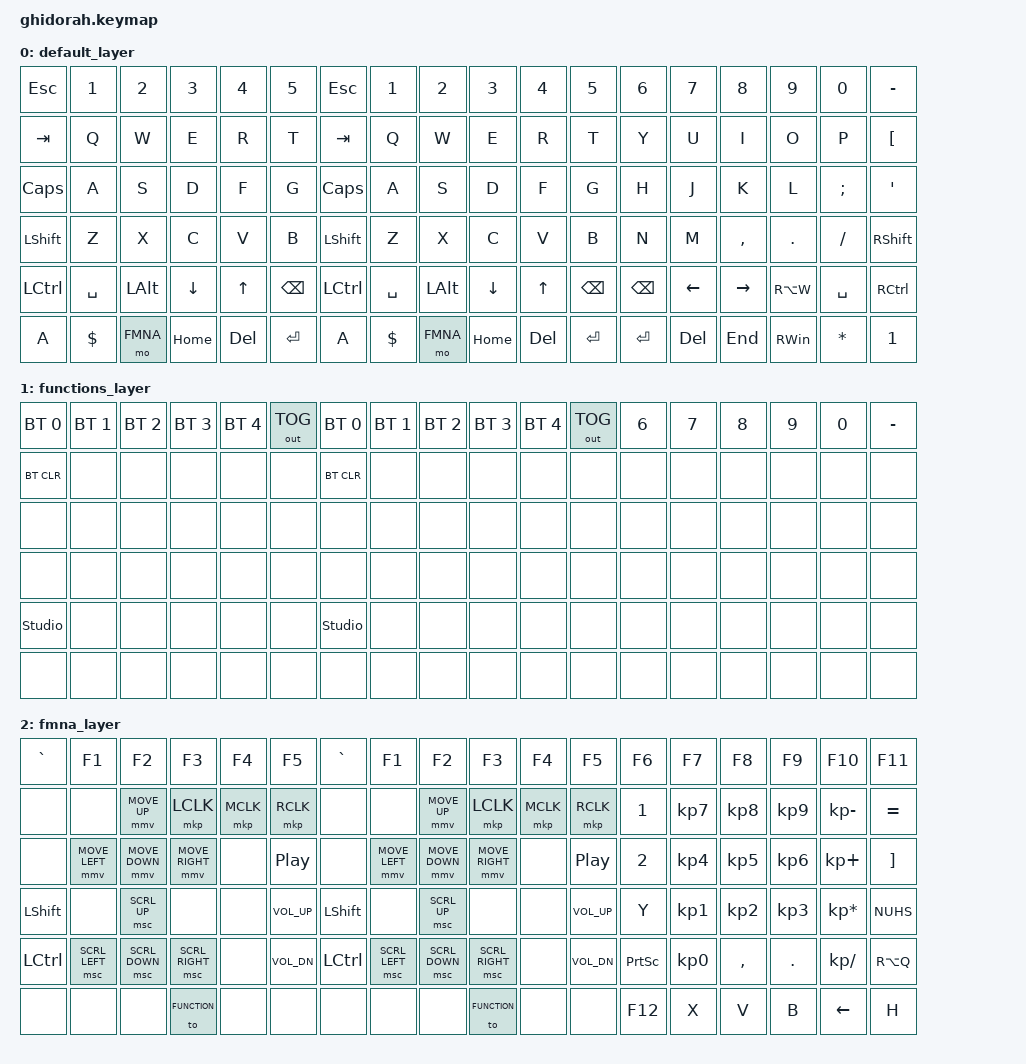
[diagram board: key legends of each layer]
/*
 * Copyright (c) 2020 The ZMK Contributors
 *
 * SPDX-License-Identifier: MIT
 */

#define ZMK_POINTING_DEFAULT_MOVE_VAL 1500  // default: 600
#define ZMK_POINTING_DEFAULT_SCRL_VAL 20    // default: 10

#include <dt-bindings/zmk/pointing.h>
#include <behaviors.dtsi>
#include <dt-bindings/zmk/keys.h>
#include <dt-bindings/zmk/bt.h>
#include <dt-bindings/zmk/outputs.h>


#define DEFAULT 0
#define FUNCTION 1
#define FMNA 2

/ {
	keymap {
		compatible = "zmk,keymap";

		default_layer {
			bindings = <			
			&kp ESC    &kp N1     &kp N2    &kp N3    &kp N4  &kp N5             &kp ESC    &kp N1     &kp N2    &kp N3    &kp N4  &kp N5             &kp N6     &kp N7    &kp N8     &kp N9     &kp N0     &kp MINUS      
			&kp TAB    &kp Q      &kp W     &kp E     &kp R   &kp T              &kp TAB    &kp Q      &kp W     &kp E     &kp R   &kp T              &kp Y      &kp U     &kp I      &kp O      &kp P      &kp LBKT        
			&kp CAPS   &kp A      &kp S     &kp D     &kp F   &kp G              &kp CAPS   &kp A      &kp S     &kp D     &kp F   &kp G              &kp H      &kp J     &kp K      &kp L      &kp SEMI   &kp APOS        
            &kp LSHFT  &kp Z      &kp X     &kp C     &kp V   &kp B              &kp LSHFT  &kp Z      &kp X     &kp C     &kp V   &kp B              &kp N      &kp M     &kp COMMA  &kp DOT    &kp SLASH  &kp RSHFT   
			&kp LCTRL  &kp SPACE  &kp LALT  &kp DOWN  &kp UP  &kp BSPC           &kp LCTRL  &kp SPACE  &kp LALT  &kp DOWN  &kp UP  &kp BSPC           &kp BSPC   &kp LEFT  &kp RIGHT  &kp RA(W)  &kp SPACE  &kp RCTRL       
			&kp A      &kp DLLR   &mo FMNA  &kp HOME  &kp DEL &kp ENTER          &kp A      &kp DLLR   &mo FMNA  &kp HOME  &kp DEL &kp ENTER          &kp ENTER  &kp DEL   &kp END    &kp RWIN   &kp STAR   &kp N1            
			>;
		};
		
		functions_layer {
			bindings = <
			&bt BT_SEL 0    &bt BT_SEL 1  &bt BT_SEL 2  &bt BT_SEL 3  &bt BT_SEL 4  &out OUT_TOG          &bt BT_SEL 0    &bt BT_SEL 1  &bt BT_SEL 2  &bt BT_SEL 3  &bt BT_SEL 4  &out OUT_TOG          &kp N6  &kp N7  &kp N8  &kp N9  &kp N0  &kp MINUS         
			&bt BT_CLR      &none         &none         &none         &none         &none                 &bt BT_CLR      &none         &none         &none         &none         &none                 &none   &none   &none   &none   &none   &none
			&none           &none         &none         &none         &none         &none                 &none           &none         &none         &none         &none         &none                 &none   &none   &none   &none   &none   &none   
			&none  	        &none         &none         &none         &none         &none                 &none  	      &none         &none         &none         &none         &none                 &none   &none   &none   &none   &none   &none    
            &studio_unlock  &none         &none         &none         &none         &none                 &studio_unlock  &none         &none         &none         &none         &none                 &none   &none   &none   &none   &none   &none   	      
			&none           &none         &none         &none         &none         &none                 &none           &none         &none         &none         &none         &none                 &none   &none   &none   &none   &none   &none          
			     
			>;
		};

		fmna_layer {
			bindings = <
			&kp GRAVE     &kp F1          &kp F2          &kp F3           &kp F4     &kp F5                &kp GRAVE     &kp F1          &kp F2          &kp F3           &kp F4     &kp F5                &kp F6     &kp F7     &kp F8     &kp F9     &kp F10          &kp F11         
			&none         &none           &mmv MOVE_UP    &mkp LCLK        &mkp MCLK  &mkp RCLK             &none         &none           &mmv MOVE_UP    &mkp LCLK        &mkp MCLK  &mkp RCLK             &kp N1     &kp KP_N7  &kp KP_N8  &kp KP_N9  &kp KP_MINUS     &kp EQUAL
			&none         &mmv MOVE_LEFT  &mmv MOVE_DOWN  &mmv MOVE_RIGHT  &none      &kp C_PP              &none         &mmv MOVE_LEFT  &mmv MOVE_DOWN  &mmv MOVE_RIGHT  &none      &kp C_PP              &kp N2     &kp KP_N4  &kp KP_N5  &kp KP_N6  &kp KP_PLUS      &kp RBKT   
			&kp LSHFT     &none           &msc SCRL_UP    &none            &none      &kp C_VOL_UP          &kp LSHFT     &none           &msc SCRL_UP    &none            &none      &kp C_VOL_UP          &kp Y      &kp KP_N1  &kp KP_N2  &kp KP_N3  &kp KP_MULTIPLY  &kp NUHS    
            &kp LCTRL     &msc SCRL_LEFT  &msc SCRL_DOWN  &msc SCRL_RIGHT  &none      &kp C_VOL_DN          &kp LCTRL     &msc SCRL_LEFT  &msc SCRL_DOWN  &msc SCRL_RIGHT  &none      &kp C_VOL_DN          &kp PSCRN  &kp KP_N0  &kp COMMA  &kp DOT    &kp KP_DIVIDE    &kp RA(Q)   	      
			&none         &none           &none           &to FUNCTION     &none      &none                 &none         &none           &none           &to FUNCTION     &none      &none                 &kp F12    &kp X      &kp V      &kp B      &kp LEFT         &kp H          
			     
			>;
		};
	};

	
};

/ {
    bt-ghidorah {
        compatible = "zmk,bluetooth";
        local-name = "Ghidorah";
    };
};

/ {
    zmk_display {
        compatible = "zmk,display";
        label = "ZMK Display";
        status = "okay";
    };
};
